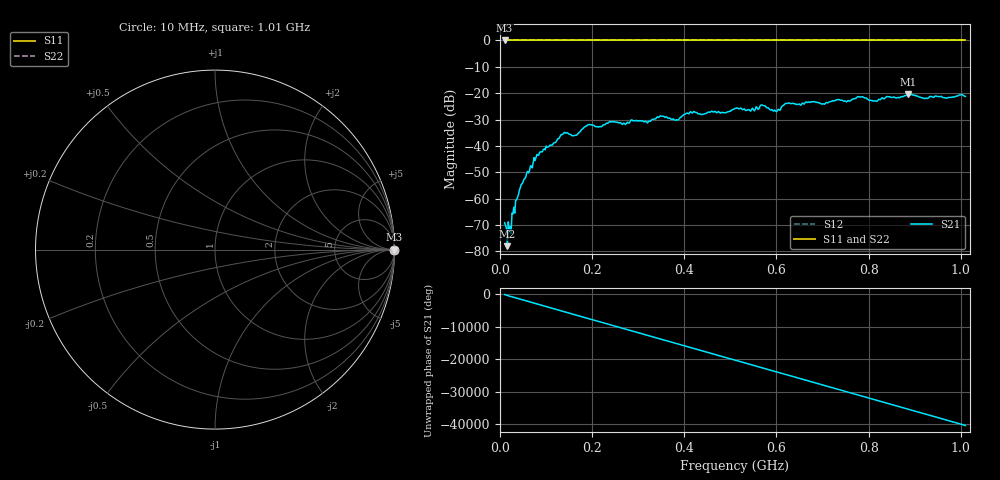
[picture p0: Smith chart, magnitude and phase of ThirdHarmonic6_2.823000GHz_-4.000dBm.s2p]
! 8/17/2025 7:28:51 AM
! C:\ANRITSUVNA\TEMP\TEMP.S2P
! CHANNEL.1
! TR.MEASUREMENT
! RAW.DATA
! RF.CORRECTION.OFF
! AVERAGING.OFF
! IF.BANDWIDTH: 5KHZ
! SWEEPTYPE:  FREQ.SWEEP(Linear)
! Reference Plane Port Info
! PORT:  PORT1  PORT2
! DISTANCE:  0  m  0  m
! TIME:  0  s  0  s
! PHASE.OFFSET:  0  deg.  0  deg.
! LOSS:  0  dB  0  dB
! REF.LOSS:  0  dB  0  dB
! REF.FREQ:  0  Hz  0  Hz
! Power Info
! POWER:  -20  dBm  -20  dBm
! EFF.POWER:  -20  dBm  -20  dBm
! SOURCE.ATTEN:  0  dB  0  dB
! TEST.ATTEN:  0  dB  0  dB
# GHZ S RI R 50.0
! FREQ.GHZ  S11RE  S11IM  S21RE  S21IM  S12RE  S12IM  S22RE  S22IM
!; PortSelection: Port_12
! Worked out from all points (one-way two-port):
!   501 points, 10 MHz to 1.01 GHz, reference 50 ohm
!   highest |S21| = -20.44 dB at 886 MHz (marker M1); lowest = -78.1 dB at 16 MHz (marker M2)
!   lowest |S11| = 0.0 dB at 10 MHz (marker M3)
!   |S11| at or under -10 dB: nowhere
!   |S22| runs from 0.0 to 0.0 dB; largest |S21 - S12| = 1.1
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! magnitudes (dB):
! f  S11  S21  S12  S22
! 10 MHz  0.0  -69.1  0.0  0.0
! 16 MHz  0.0  -78.1  0.0  0.0
! 20 MHz  0.0  -72.7  0.0  0.0
! 30 MHz  0.0  -63.3  0.0  0.0
! 46 MHz  0.0  -54.7  0.0  0.0
! 78 MHz  0.0  -44.4  0.0  0.0
! 136 MHz  0.0  -35.6  0.0  0.0
! 162 MHz  0.0  -36.0  0.0  0.0
! 178 MHz  0.0  -33.7  0.0  0.0
! 194 MHz  0.0  -31.9  0.0  0.0
! 322 MHz  0.0  -30.8  0.0  0.0
! 344 MHz  0.0  -29.2  0.0  0.0
! 384 MHz  0.0  -30.1  0.0  0.0
! 416 MHz  0.0  -27.5  0.0  0.0
! 510 MHz  0.0  -25.8  0.0  0.0
! 570 MHz  0.0  -24.6  0.0  0.0
! 598 MHz  0.0  -26.7  0.0  0.0
! 624 MHz  0.0  -23.8  0.0  0.0
! 678 MHz  0.0  -23.2  0.0  0.0
! 844 MHz  0.0  -21.4  0.0  0.0
! 886 MHz  0.0  -20.4  0.0  0.0
! 1.01 GHz  0.0  -21.2  0.0  0.0
